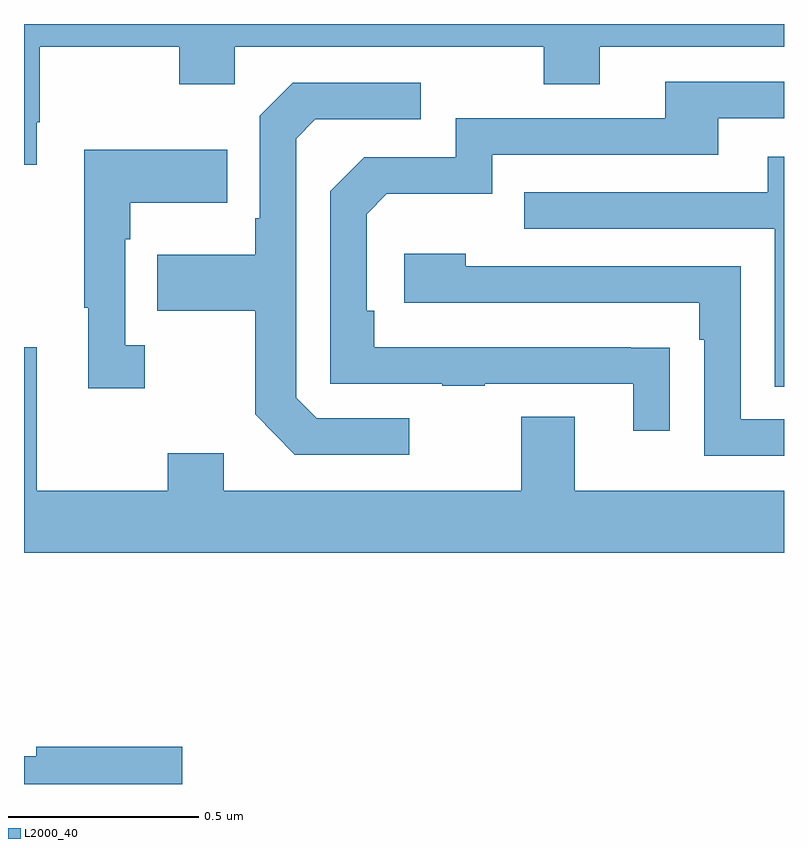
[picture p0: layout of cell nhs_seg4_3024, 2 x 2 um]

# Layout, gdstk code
import gdstk
lib = gdstk.Library(unit=1e-6, precision=1e-09)
def P(c, l, *ps):  # polygons
    for p in ps: c.add(gdstk.Polygon(p, *l))
L2000_40 = (2000, 40)

nhs_seg4_3024 = lib.new_cell('nhs_seg4_3024')
P(nhs_seg4_3024, L2000_40, [(148.033,776.641),(148.041,776.641),(148.041,776.84),(148.408,776.84),(148.408,776.741),(148.554,776.741),(148.554,776.84),(149.368,776.84),(149.368,776.741),(149.515,776.741),(149.515,776.84),(150,776.84),(150,776.9),(148,776.9),(148,776.529),(148.033,776.529)],
  [(149.699,776.048),(149.597,776.048),(149.597,776.049),(148.922,776.049),(148.922,776.146),(148.902,776.146),(148.902,776.4),(148.955,776.453),(149.232,776.453),(149.232,776.556),(149.827,776.556),(149.827,776.652),(150,776.652),(150,776.748),(149.687,776.748),(149.687,776.652),(149.136,776.652),(149.136,776.55),(148.896,776.55),(148.806,776.46),(148.806,775.953),(149.101,775.953),(149.101,775.948),(149.213,775.948),(149.213,775.953),(149.603,775.953),(149.603,775.83),(149.699,775.83)],
  [(149.014,775.863),(148.77,775.863),(148.716,775.917),(148.716,776.598),(148.767,776.649),(149.044,776.649),(149.044,776.745),(148.707,776.745),(148.62,776.658),(148.62,776.389),(148.608,776.389),(148.608,776.293),(148.351,776.293),(148.351,776.146),(148.608,776.146),(148.608,775.873),(148.713,775.767),(149.014,775.767)],
  [(148.318,776.054),(148.266,776.054),(148.266,776.333),(148.279,776.333),(148.279,776.429),(148.535,776.429),(148.535,776.569),(148.158,776.569),(148.158,776.153),(148.169,776.153),(148.169,775.941),(148.318,775.941)],
  [(150,776.551),(149.957,776.551),(149.957,776.457),(149.317,776.457),(149.317,776.361),(149.976,776.361),(149.976,775.945),(150,775.945)],
  [(150,775.86),(149.886,775.86),(149.886,776.262),(149.162,776.262),(149.162,776.296),(149.001,776.296),(149.001,776.166),(149.777,776.166),(149.777,776.069),(149.79,776.069),(149.79,775.764),(150,775.764)],
  [(150,775.672),(149.449,775.672),(149.449,775.867),(149.309,775.867),(149.309,775.672),(148.525,775.672),(148.525,775.771),(148.378,775.771),(148.378,775.672),(148.033,775.672),(148.033,776.05),(148,776.05),(148,775.508),(150,775.508)],
  [(148.417,774.998),(148.032,774.998),(148.032,774.973),(148,774.973),(148,774.9),(148.417,774.9)])

lib.write_gds('nhs_seg4_3024.gds')
